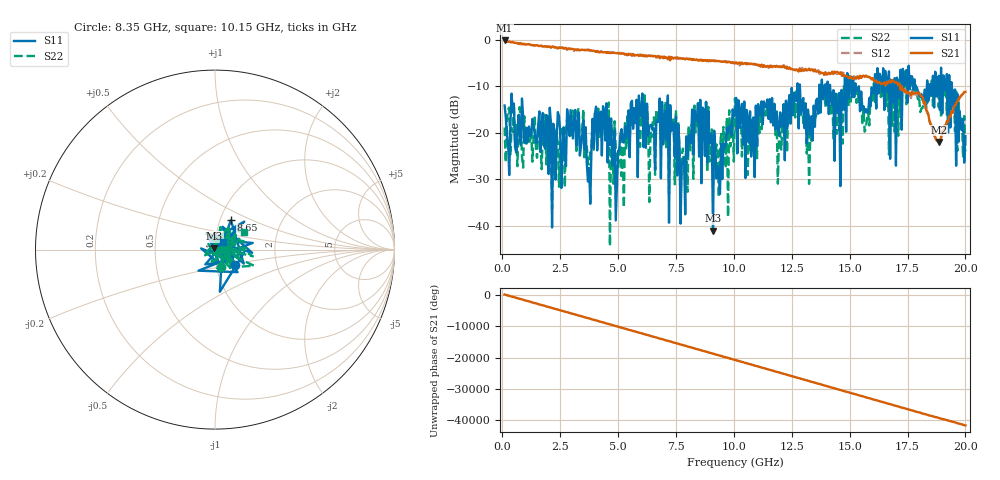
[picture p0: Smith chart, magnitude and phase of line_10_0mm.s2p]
#  HZ  S  RI  R  1.00
! Rohde & Schwarz ZVA67 4Ports - Version 4.11 - 1305.7002k04 SN: 101032
! Date: 2023-06-01 16:45:07
! Measurements: S11 S21 S12 S22
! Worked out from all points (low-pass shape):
!   399 points, 100 MHz to 20 GHz, reference 1 ohm
!   highest |S21| = -0.18 dB at 100 MHz (marker M1); lowest = -22.0 dB at 18.85 GHz (marker M2)
!   |S21| within 3 dB of the highest: start of sweep to 5.367 GHz; 5.437 GHz to 5.491 GHz (54.23 MHz wide, 0.993 % of centre) (the widest 2 of 4)
!   lowest |S11| = -41.1 dB at 9.1 GHz (marker M3), VSWR 1.02, Z = 0.991 + j0.0153 ohm
!   |S11| at or under -10 dB: start of sweep to 12.74 GHz; 12.85 GHz to 13.7 GHz (844.4 MHz wide, 6.36 % of centre); 15.27 GHz to 16.07 GHz (799.4 MHz wide, 5.1 % of centre) (the widest 3 of 37)
!   |S22| runs from -44.4 to -6.8 dB; largest |S21 - S12| = 2
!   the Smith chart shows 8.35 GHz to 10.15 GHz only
!   S11 on the Smith chart (normalised r, x): 8.35 GHz: 1.23, -0.22; 8.65 GHz: 1.13, +0.38; 10.15 GHz: 1.09, +0.09
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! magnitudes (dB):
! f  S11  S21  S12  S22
! 100 MHz  -14.2  -0.2  -0.2  -18.9
! 2.05 GHz  -14.6  -1.5  -1.6  -16.5
! 2.15 GHz  -40.4  -1.5  -1.6  -36.3
! 2.2 GHz  -18.1  -1.5  -1.6  -18.3
! 3.45 GHz  -20.5  -2.2  -2.2  -19.5
! 4.6 GHz  -16.8  -2.9  -2.8  -13.5
! 4.65 GHz  -22.6  -2.9  -2.7  -44.4
! 4.7 GHz  -17.0  -2.9  -2.7  -18.5
! 4.9 GHz  -38.9  -2.9  -2.9  -23.2
! 6.75 GHz  -17.7  -3.5  -3.6  -17.6
! 7.7 GHz  -39.6  -4.0  -4.0  -34.6
! 8.35 GHz  -17.1  -4.4  -4.4  -19.9
! 8.65 GHz  -14.6  -4.6  -4.5  -16.8
! 9.1 GHz  -41.1  -4.6  -4.5  -30.3
! 9.15 GHz  -19.6  -4.5  -4.7  -20.7
! 9.75 GHz  -20.1  -4.8  -4.7  -38.1
! 10.05 GHz  -15.8  -5.0  -5.2  -12.6
! 10.15 GHz  -24.5  -5.2  -5.2  -14.4
! 13.4 GHz  -21.7  -6.5  -6.3  -18.7
! 16.7 GHz  -6.8  -9.2  -9.5  -24.7
! 18.85 GHz  -7.8  -22.0  -22.1  -14.5
! 20 GHz  -20.7  -11.2  -11.2  -24.0
